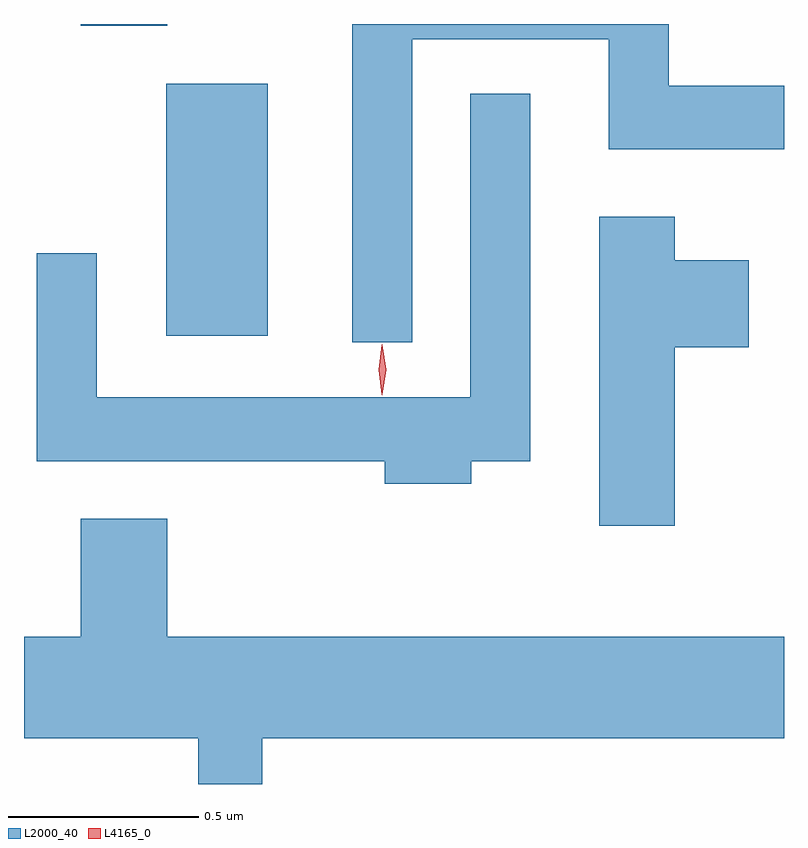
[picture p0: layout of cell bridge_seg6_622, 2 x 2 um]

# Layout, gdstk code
import gdstk
lib = gdstk.Library(unit=1e-6, precision=1e-09)
def R(c, l, rs):  # rectangles x0, y0, x1, y1
    for r in rs: c.add(gdstk.rectangle(r[:2], r[2:], *l))
def P(c, l, *ps):  # polygons
    for p in ps: c.add(gdstk.Polygon(p, *l))
L2000_40 = (2000, 40)
L4165_0 = (4165, 0)

bridge_seg6_622 = lib.new_cell('bridge_seg6_622')
R(bridge_seg6_622, L2000_40, [(473.156,1606.596,473.424,1607.259), (472.931,1607.411,473.159,1607.416)])
P(bridge_seg6_622, L2000_40, [(473.804,1607.376),(474.321,1607.376),(474.321,1607.086),(474.782,1607.086),(474.782,1607.254),(474.479,1607.254),(474.479,1607.416),(473.646,1607.416),(473.646,1606.578),(473.804,1606.578)],
  [(473.959,1606.266),(474.114,1606.266),(474.114,1607.233),(473.956,1607.233),(473.956,1606.434),(472.974,1606.434),(472.974,1606.813),(472.816,1606.813),(472.816,1606.266),(473.731,1606.266),(473.731,1606.206),(473.959,1606.206)],
  [(474.494,1606.566),(474.689,1606.566),(474.689,1606.794),(474.494,1606.794),(474.494,1606.909),(474.296,1606.909),(474.296,1606.096),(474.494,1606.096)],
  [(473.409,1605.536),(474.782,1605.536),(474.782,1605.804),(473.159,1605.804),(473.159,1606.114),(472.931,1606.114),(472.931,1605.804),(472.782,1605.804),(472.782,1605.536),(473.241,1605.536),(473.241,1605.416),(473.409,1605.416)])
P(bridge_seg6_622, L4165_0, [(473.725,1606.439),(473.724,1606.44),(473.715,1606.506),(473.724,1606.572),(473.725,1606.573),(473.725,1606.572),(473.735,1606.506),(473.725,1606.44)])

lib.write_gds('bridge_seg6_622.gds')
